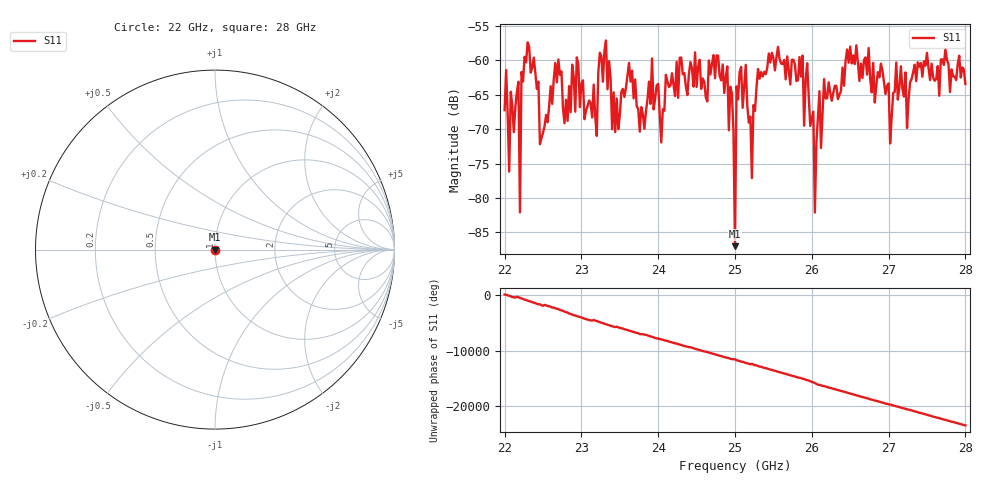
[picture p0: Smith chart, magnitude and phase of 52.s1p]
#  HZ  S  RI  R  50.00
! Rohde & Schwarz ZVA40 4Ports - Version 3.90 - 1145.1110k42 SN: 100403
! Date: 2023-10-04 11:24:55
! Measurement: S12
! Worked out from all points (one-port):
!   301 points, 22 GHz to 28 GHz, reference 50 ohm
!   lowest |S11| = -87.0 dB at 25 GHz (marker M1), VSWR 1.00, Z = 50 + j0.00149 ohm
!   |S11| at or under -10 dB: start of sweep to end of sweep
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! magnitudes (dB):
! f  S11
! 22 GHz  -67.3
! 22.06 GHz  -76.2
! 22.08 GHz  -64.6
! 22.18 GHz  -63.1
! 22.2 GHz  -82.1
! 22.22 GHz  -61.7
! 22.3 GHz  -57.4
! 22.46 GHz  -72.2
! 22.76 GHz  -67.0
! 22.94 GHz  -59.6
! 23.2 GHz  -71.0
! 23.32 GHz  -57.1
! 23.5 GHz  -68.1
! 24.26 GHz  -65.5
! 24.9 GHz  -60.9
! 25 GHz  -87.0
! 25.02 GHz  -63.8
! 25.08 GHz  -61.0
! 25.22 GHz  -77.1
! 25.3 GHz  -61.3
! 25.76 GHz  -59.9
! 25.9 GHz  -69.5
! 25.94 GHz  -60.5
! 26.04 GHz  -82.1
! 26.1 GHz  -64.5
! 26.5 GHz  -58.0
! 27.26 GHz  -65.7
! 28 GHz  -63.5
